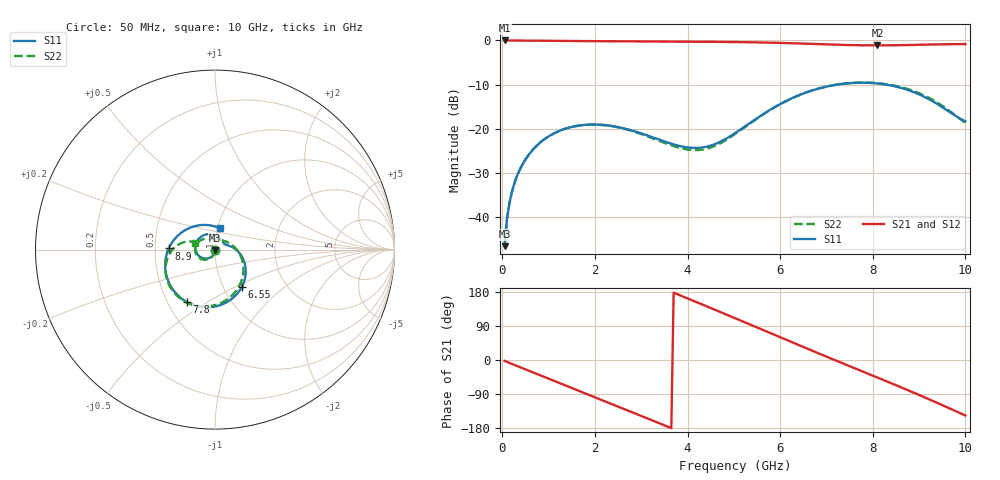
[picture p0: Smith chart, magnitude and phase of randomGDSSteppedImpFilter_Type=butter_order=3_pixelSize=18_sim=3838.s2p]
! freq	dB(S11)	phase(S11)	dB(S12)	phase(S12)
!  dB(S21)	phase(S21)	dB(S22)	phase(S22)
!S-par simulation data
#  GHz  S  DB  R 50
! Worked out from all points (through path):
!   200 points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, 50 MHz to 10 GHz, reference 50 ohm
!   highest |S21| = 0.00 dB at 50 MHz (marker M1); lowest = -1.1 dB at 8.1 GHz (marker M2)
!   group delay of S21, straight-line fit = 140 ps
!   lowest |S11| = -46.6 dB at 50 MHz (marker M3), VSWR 1.01, Z = 50 - j0.465 ohm
!   |S11| at or under -10 dB: start of sweep to 7.237 GHz; 8.275 GHz to end of sweep
!   |S22| runs from -46.6 to -9.5 dB; largest |S21 - S12| = 0
!   S11 on the Smith chart (normalised r, x): 50 MHz: 1.00, -0.01; 6.55 GHz: 1.22, -0.54; 7.8 GHz: 0.62, -0.41; 8.9 GHz: 0.59, +0.01; 10 GHz: 1.02, +0.25
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0.05  -46.64 -91.9  -0.00 -2.5  -0.00 -2.5  -46.63 -91.5
0.1  -40.63 -94.9  -0.01 -5.0  -0.01 -5.0  -40.62 -94.2
0.2  -34.65 -100.3  -0.02 -9.9  -0.02 -9.9  -34.64 -99.0
0.5  -27.00 -116.6  -0.04 -24.7  -0.04 -24.7  -26.98 -113.3
1.15  -20.89 -151.7  -0.10 -56.6  -0.10 -56.6  -20.89 -143.5
1.75  -19.17 175.8  -0.15 -85.9  -0.15 -85.9  -19.19 -170.2
2.5  -19.64 133.5  -0.19 -122.7  -0.19 -122.7  -19.71 157.8
2.95  -20.90 106.7  -0.21 -144.9  -0.21 -144.9  -21.05 139.6
3.4  -22.54 79.1  -0.23 -167.3  -0.23 -167.3  -22.81 121.5
4.15  -24.37 38.9  -0.28 155.0  -0.28 155.0  -24.87 84.6
4.65  -23.25 22.5  -0.32 129.6  -0.32 129.6  -23.62 50.5
5.05  -20.85 10.8  -0.36 109.1  -0.36 109.1  -21.04 22.8
5.75  -15.93 -16.4  -0.49 73.0  -0.49 73.0  -15.99 -19.5
6.55  -11.83 -54.5  -0.74 31.7  -0.74 31.7  -11.84 -61.8
6.7  -11.30 -62.0  -0.79 24.0  -0.79 24.0  -11.31 -69.4
7.25  -9.98 -89.8  -0.98 -3.8  -0.98 -3.8  -9.96 -96.3
7.8  -9.59 -118.3  -1.10 -31.2  -1.10 -31.2  -9.52 -122.3
8.1  -9.76 -134.3  -1.12 -46.2  -1.12 -46.2  -9.66 -136.1
8.35  -10.13 -148.2  -1.11 -58.8  -1.11 -58.8  -10.00 -147.3
8.9  -11.78 178.5  -1.01 -87.0  -1.01 -87.0  -11.55 -171.2
9.45  -14.78 137.2  -0.89 -116.3  -0.89 -116.3  -14.47 168.6
10  -18.32 77.5  -0.83 -146.6  -0.83 -146.6  -18.70 160.5
